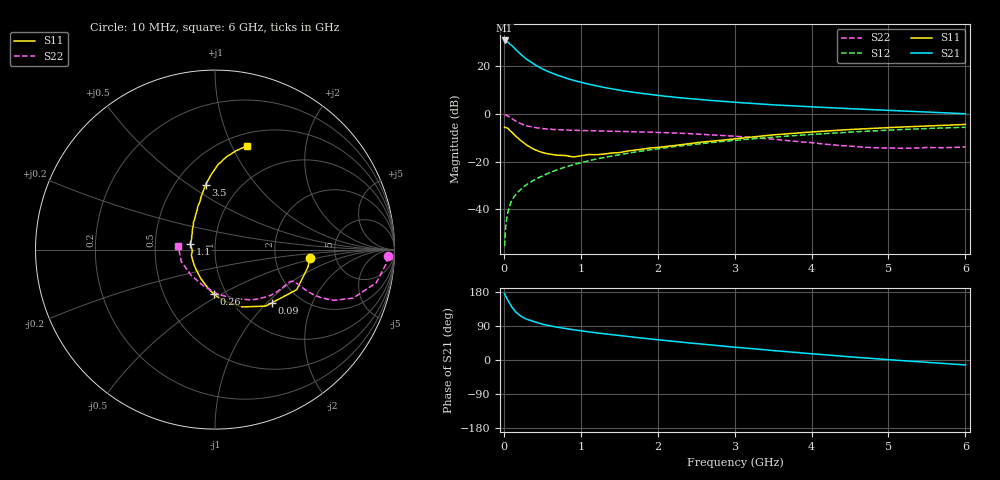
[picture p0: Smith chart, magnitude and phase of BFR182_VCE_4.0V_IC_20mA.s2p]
! Infineon Technologies  Discrete & RF Semiconductors
! BFR182
! VCE =  4.0 V,  IC =  20 mA
! Common Emitter S-Parameters:  Nov 2015
# GHz  S  MA  R  50
!  f  S11  S21  S12  S22
! GHz  MAG  ANG  MAG  ANG  MAG  ANG  MAG  ANG
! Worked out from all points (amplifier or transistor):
!   210 points, 10 MHz to 6 GHz, reference 50 ohm
!   highest |S21| = 30.8 dB at 10 MHz (marker M1)
!   |S21| within 3 dB of that: start of sweep to 129.7 MHz
!   unconditionally stable (mu >= 1): 566.8 MHz to 2.503 GHz
!   at 185 MHz: K = 0.69, MSG = 29.4 dB, |S12| = -32.7 dB
!   at 1.52 GHz: K = 1.04, MAG = 12.1 dB, |S12| = -16.9 dB
!   at 6 GHz: K = 0.89, MSG = 2.8 dB, |S12| = -5.5 dB
!   S11 on the Smith chart (normalised r, x): 10 MHz: 3.19, -0.44; 90 MHz: 1.46, -1.07; 260 MHz: 0.87, -0.46; 1.1 GHz: 0.76, +0.05; 3.5 GHz: 0.70, +0.58; 6 GHz: 0.63, +1.15
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0.01  0.5306 -5.3  34.84 175.0  0.0017 85.2  0.9644 -2.2
0.02  0.5269 -10.8  34.16 170.4  0.0036 84.1  0.9566 -4.8
0.05  0.5071 -26.1  32.53 157.9  0.0084 80.2  0.9172 -11.6
0.09  0.4337 -43.2  28.47 144.4  0.0138 75.5  0.8342 -17.7
0.1  0.4226 -48.2  27.74 140.5  0.0152 74.9  0.8151 -19.4
0.15  0.3519 -65.1  22.83 127.4  0.02 70.4  0.7171 -23.2
0.2  0.2937 -78.9  19.09 118.8  0.0246 71.5  0.6479 -24.4
0.26  0.2476 -91.6  15.67 111.2  0.03 71.4  0.5906 -24.5
0.3  0.2216 -99.4  13.9 107.2  0.0334 71.6  0.5632 -24.3
0.4  0.1797 -116.1  10.88 100.4  0.042 72.8  0.5215 -23.2
0.5  0.1565 -130.8  8.826 94.5  0.0504 73.3  0.4956 -22.5
0.7  0.1375 -155.8  6.483 86.3  0.0684 74.0  0.4694 -22.2
0.8  0.1355 -166.3  5.698 82.9  0.0773 73.1  0.462 -22.4
1.02  0.1346 172.1  4.55 76.5  0.0969 72.6  0.4506 -23.8
1.1  0.1415 167.1  4.24 74.3  0.1043 72.2  0.4473 -24.5
1.6  0.1677 138.8  2.984 62.1  0.1501 68.4  0.4298 -30.2
2.02  0.2008 125.0  2.438 53.1  0.1887 64.8  0.4115 -36.4
3.1  0.3137 103.5  1.721 32.2  0.2898 53.9  0.3329 -56.8
3.5  0.3651 98.2  1.56 24.8  0.3274 49.6  0.2973 -67.5
4.1  0.4316 91.6  1.389 14.9  0.3825 42.4  0.2408 -89.1
5.1  0.5283 82.0  1.178 -0.6  0.468 30.0  0.1922 -138.4
6  0.6053 72.8  1.013 -13.0  0.5281 17.7  0.2054 174.9
